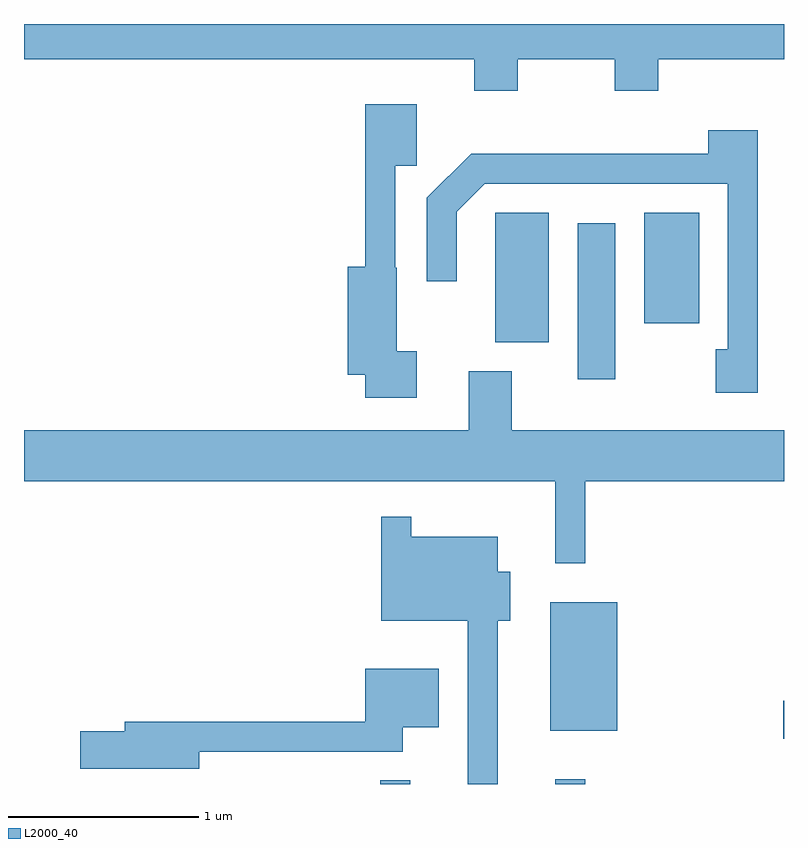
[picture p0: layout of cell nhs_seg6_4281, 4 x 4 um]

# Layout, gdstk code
import gdstk
lib = gdstk.Library(unit=1e-6, precision=1e-09)
def R(c, l, rs):  # rectangles x0, y0, x1, y1
    for r in rs: c.add(gdstk.rectangle(r[:2], r[2:], *l))
def P(c, l, *ps):  # polygons
    for p in ps: c.add(gdstk.Polygon(p, *l))
L2000_40 = (2000, 40)

nhs_seg6_4281 = lib.new_cell('nhs_seg6_4281')
R(nhs_seg6_4281, L2000_40, [(317.486,1606.162,317.644,1606.183), (318.406,1606.162,318.564,1606.188), (319.606,1606.401,319.611,1606.599), (318.381,1606.441,318.734,1607.119), (318.526,1608.291,318.724,1609.114), (318.091,1608.486,318.374,1609.169), (318.876,1608.586,319.164,1609.169)])
P(nhs_seg6_4281, L2000_40, [(318.209,1609.976),(318.721,1609.976),(318.721,1609.811),(318.949,1609.811),(318.949,1609.976),(319.611,1609.976),(319.611,1610.162),(315.611,1610.162),(315.611,1609.976),(317.981,1609.976),(317.981,1609.811),(318.209,1609.811)],
  [(317.679,1608.439),(317.574,1608.439),(317.574,1608.88),(317.564,1608.88),(317.564,1609.416),(317.679,1609.416),(317.679,1609.739),(317.406,1609.739),(317.406,1608.884),(317.316,1608.884),(317.316,1608.316),(317.406,1608.316),(317.406,1608.196),(317.679,1608.196)],
  [(319.474,1609.604),(319.211,1609.604),(319.211,1609.479),(317.964,1609.479),(317.731,1609.247),(317.731,1608.808),(317.889,1608.808),(317.889,1609.174),(318.037,1609.321),(319.316,1609.321),(319.316,1608.449),(319.251,1608.449),(319.251,1608.221),(319.474,1608.221)],
  [(318.564,1607.756),(319.611,1607.756),(319.611,1608.024),(318.179,1608.024),(318.179,1608.334),(317.951,1608.334),(317.951,1608.024),(315.611,1608.024),(315.611,1607.756),(318.406,1607.756),(318.406,1607.323),(318.564,1607.323)],
  [(318.104,1607.021),(318.169,1607.021),(318.169,1607.279),(318.104,1607.279),(318.104,1607.464),(317.649,1607.464),(317.649,1607.568),(317.491,1607.568),(317.491,1607.021),(317.946,1607.021),(317.946,1606.162),(318.104,1606.162)],
  [(316.534,1606.331),(317.604,1606.331),(317.604,1606.461),(317.794,1606.461),(317.794,1606.769),(317.406,1606.769),(317.406,1606.489),(316.141,1606.489),(316.141,1606.439),(315.906,1606.439),(315.906,1606.241),(316.534,1606.241)])

lib.write_gds('nhs_seg6_4281.gds')
